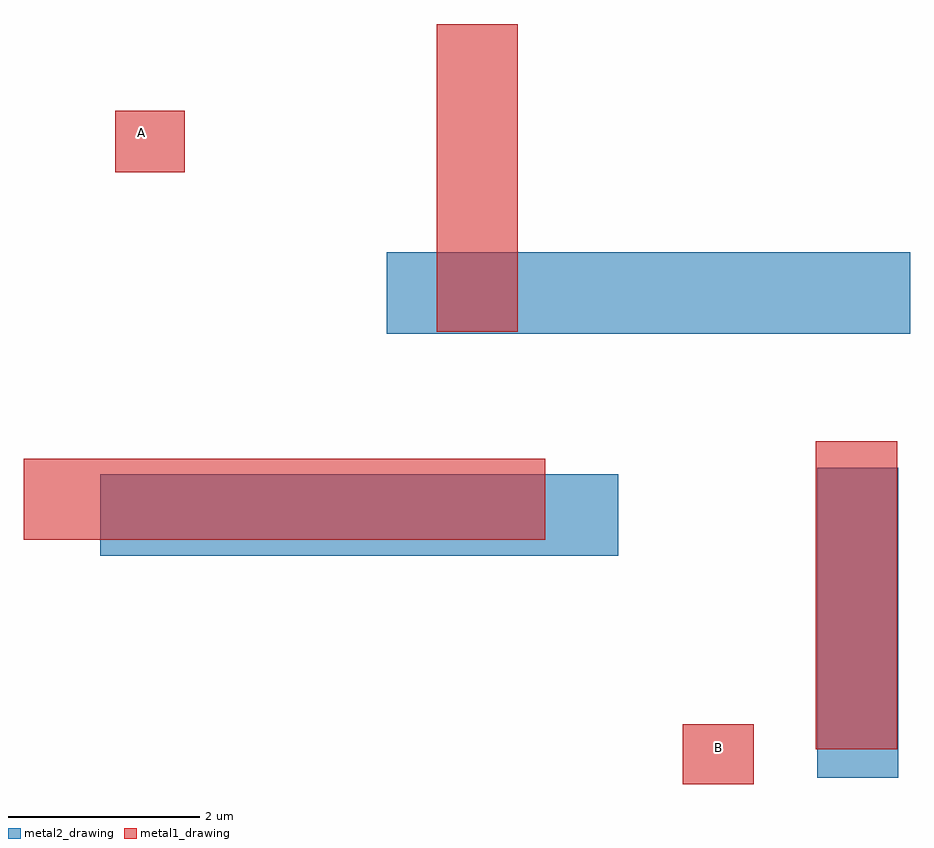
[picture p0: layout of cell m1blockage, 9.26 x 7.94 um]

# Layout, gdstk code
import gdstk
lib = gdstk.Library(unit=1e-6, precision=1e-09)
def R(c, l, rs):  # rectangles x0, y0, x1, y1
    for r in rs: c.add(gdstk.rectangle(r[:2], r[2:], *l))
metal1_drawing = (11, 0)
metal2_drawing = (13, 0)

m1blockage = lib.new_cell('m1blockage')
R(m1blockage, metal1_drawing, [(6.61,1.63,7.355,2.255), (8,1.995,8.85,5.21), (-0.275,4.18,5.175,5.03), (4.04,6.355,4.89,9.57), (0.685,8.02,1.41,8.665)])
R(m1blockage, metal2_drawing, [(8.015,1.695,8.865,4.935), (0.525,4.015,5.94,4.865), (3.52,6.335,8.99,7.185)])
m1blockage.add(gdstk.Label('B', (6.986,2.012), layer=11, texttype=0))
m1blockage.add(gdstk.Label('A', (0.96,8.432), layer=11, texttype=0))

lib.write_gds('m1blockage.gds')
